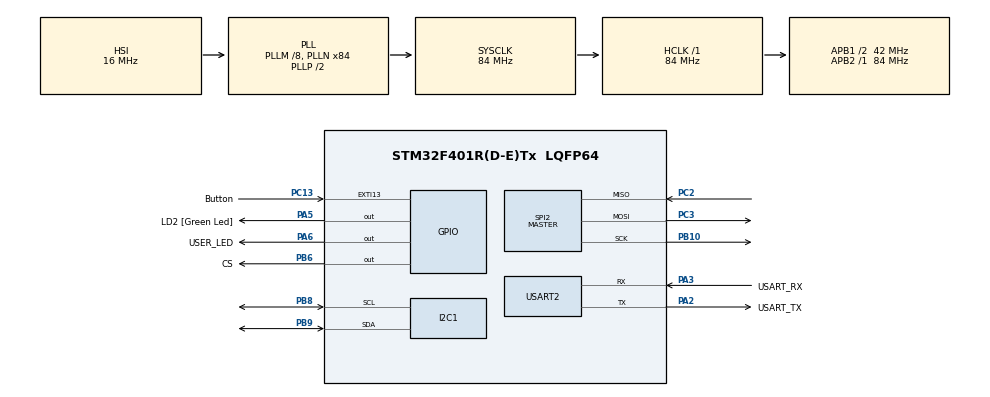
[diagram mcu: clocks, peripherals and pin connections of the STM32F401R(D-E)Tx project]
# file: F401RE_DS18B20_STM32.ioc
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Mcu.Family=STM32F4
Mcu.Name=STM32F401R(D-E)Tx
Mcu.Package=LQFP64
NVIC.EXTI15_10_IRQn=true\:0\:0\:false\:false\:true\:true\:true\:true
NVIC.PriorityGroup=NVIC_PRIORITYGROUP_0
NVIC.TIM2_IRQn=true\:0\:0\:false\:false\:true\:true\:true\:true
PA13.GPIO_Label=TMS
PA13.Mode=Serial_Wire
PA13.Signal=SYS_JTMS-SWDIO
PA14.GPIO_Label=TCK
PA14.Mode=Serial_Wire
PA14.Signal=SYS_JTCK-SWCLK
PA2.GPIO_Label=USART_TX
PA2.GPIO_Mode=GPIO_MODE_AF_PP
PA2.GPIO_PuPd=GPIO_NOPULL
PA2.GPIO_Speed=GPIO_SPEED_FREQ_LOW
PA2.Mode=Asynchronous
PA2.Signal=USART2_TX
PA3.GPIO_Label=USART_RX
PA3.GPIO_Mode=GPIO_MODE_AF_PP
PA3.GPIO_PuPd=GPIO_NOPULL
PA3.GPIO_Speed=GPIO_SPEED_FREQ_LOW
PA3.Mode=Asynchronous
PA3.Signal=USART2_RX
PA5.GPIO_Label=LD2 [Green Led]
PA5.GPIO_Mode=GPIO_MODE_OUTPUT_PP
PA5.GPIO_PuPd=GPIO_NOPULL
PA5.GPIO_Speed=GPIO_SPEED_FREQ_LOW
PA5.Signal=GPIO_Output
PA6.GPIO_Label=USER_LED
PA6.Signal=GPIO_Output
PB10.Mode=Full_Duplex_Master
PB10.Signal=SPI2_SCK
PB3.GPIO_Label=SWO
PB3.Signal=SYS_JTDO-SWO
PB6.GPIO_Label=CS
PB6.Signal=GPIO_Output
PB8.GPIO_Pu=GPIO_PULLUP
PB8.Mode=I2C
PB8.Signal=I2C1_SCL
PB9.GPIO_Pu=GPIO_PULLUP
PB9.Mode=I2C
PB9.Signal=I2C1_SDA
PC13-ANTI_TAMP.GPIO_Label=Button
PC13-ANTI_TAMP.GPIO_ModeDefaultEXTI=GPIO_MODE_IT_FALLING
PC13-ANTI_TAMP.Signal=GPXTI13
PC2.Mode=Full_Duplex_Master
PC2.Signal=SPI2_MISO
PC3.Mode=Full_Duplex_Master
PC3.Signal=SPI2_MOSI
PH0\ -\ OSC_IN.Mode=HSE-External-Clock-Source
PH0\ -\ OSC_IN.Signal=RCC_OSC_IN
PH1\ -\ OSC_OUT.Mode=HSE-External-Clock-Source
PH1\ -\ OSC_OUT.Signal=RCC_OSC_OUT
ProjectManager.HeapSize=0x200
ProjectManager.StackSize=0x400
ProjectManager.TargetToolchain=STM32CubeIDE
RCC.48MHZClocksFreq_Value=24000000
RCC.AHBFreq_Value=84000000
RCC.APB1CLKDivider=RCC_HCLK_DIV2
RCC.APB1Freq_Value=42000000
RCC.APB1TimFreq_Value=84000000
RCC.APB2Freq_Value=84000000
RCC.APB2TimFreq_Value=84000000
RCC.CortexFreq_Value=84000000
RCC.HCLKFreq_Value=84000000
RCC.HSE_VALUE=8000000
RCC.HSI_VALUE=16000000
RCC.LSE_VALUE=32768
RCC.PLLM=8
RCC.PLLN=84
RCC.PLLQ=7
RCC.SYSCLKFreq_VALUE=84000000
RCC.SYSCLKSource=RCC_SYSCLKSOURCE_PLLCLK
RCC.VCOOutputFreq_Value=168000000
SPI2.Direction=SPI_DIRECTION_2LINES
SPI2.Mode=SPI_MODE_MASTER
SPI2.VirtualType=VM_MASTER
TIM1.Prescaler=84-1
TIM2.Period=84000000-1
USART2.VirtualMode=VM_ASYNC
VP_FATFS_VS_Generic.Mode=User_defined
VP_TIM1_VS_ClockSourceINT.Mode=Internal
VP_TIM2_VS_ClockSourceINT.Mode=Internal
board=NUCLEO-F401RE

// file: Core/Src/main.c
/* USER CODE BEGIN Header */
/**
 ******************************************************************************
 * @file           : main.c
 * @brief          : Main program body
 ******************************************************************************
 * @attention
 *
 * Copyright (c) 2025 STMicroelectronics.
 * All rights reserved.
 *
 * This software is licensed under terms that can be found in the LICENSE file
 * in the root directory of this software component.
 * If no LICENSE file comes with this software, it is provided AS-IS.
 *
 ******************************************************************************
 */
/* USER CODE END Header */
#include "main.h"
#include "fatfs.h"
#include "i2c.h"
#include "spi.h"
#include "tim.h"
#include "usart.h"
#include "gpio.h"

/* USER CODE BEGIN Includes */
#include <stdbool.h>
#include "DS18B20.h"
#include "fatfs.h"
#include "File_Handling_RTOS.h"
#include "SSD1306.h"
#include "Text_Font.h"
#include "BMP280.h"
// #include "DS1307.h"  // Ya no se usa DS1307, se usa registro de compilación
/* USER CODE END Includes */

/* USER CODE BEGIN PTD */
#define SD_CARD_OK	1
/* USER CODE END PTD */

/* USER CODE BEGIN PV */
extern SPI_HandleTypeDef hspi2;
extern I2C_HandleTypeDef hi2c1;
extern UART_HandleTypeDef huart2;
extern TIM_HandleTypeDef htim1;
extern TIM_HandleTypeDef htim2;

/* DS1307 RTC - Hardware I2C RTC - YA NO SE USA */
/* USER CODE END PV */

void SystemClock_Config(void);
/* USER CODE BEGIN PFP */

/* USER CODE END FP */

/* USER CODE BEGIN 0 */
#define DATA_MONITOREO 		"NORTE_11.TXT"

/* ========== DS1307 RTC - DESHABILITADO - Se usa registro de compilación ========== */
/*
// Configuracion DS1307 - Descomentar para FORZAR configuracion del RTC en cada inicio
// Usar solo si necesitas actualizar la hora manualmente
// #define FORCE_DS1307_CONFIG

// ---------- DS1307 RTC Functions ----------
// Funcion para forzar escritura directa del DS1307 (bypass Clock Halt)
void DS1307_ForceWrite(uint16_t year, uint8_t month, uint8_t day,
                       uint8_t hour, uint8_t minute, uint8_t second)
{
	myprintf("Forzando escritura directa al DS1307 (bypass Clock Halt)...\r\n");

	// Escribir directamente cada registro con valores en BCD
	uint8_t data[8];
	data[0] = 0x00;  // Dirección de inicio (SECOND)
	data[1] = DS1307_EncodeBCD(second) & 0x7F;  // SECOND con CH=0 (bit 7 = 0)
	data[2] = DS1307_EncodeBCD(minute);         // MINUTE
	data[3] = DS1307_EncodeBCD(hour);           // HOUR (24h mode)
	data[4] = 0x01;                             // DOW (día de semana, 1=Domingo)
	data[5] = DS1307_EncodeBCD(day);            // DATE
	data[6] = DS1307_EncodeBCD(month);          // MONTH
	data[7] = DS1307_EncodeBCD(year - 2000);    // YEAR (00-99)

	// Escribir todos los registros de tiempo en una sola transacción
	HAL_StatusTypeDef status = HAL_I2C_Master_Transmit(&hi2c1, DS1307_I2C_ADDR << 1, data, 8, 1000);

	if(status == HAL_OK)
	{
		myprintf("Escritura I2C OK\r\n");
		HAL_Delay(50);

		// Verificar
		myprintf("Verificando escritura...\r\n");
		uint8_t sec_reg = DS1307_GetRegByte(DS1307_REG_SECOND);
		myprintf("  SECOND reg = 0x%02X (CH bit=%d)\r\n", sec_reg, (sec_reg >> 7) & 1);
	}
	else
	{
		myprintf("ERROR escritura I2C: %d\r\n", status);
	}
}

// Funcion de debug: Lee y muestra registros raw del DS1307
void DS1307_DebugRegisters(void)
{
	myprintf("DS1307 Registros RAW (hex):\r\n");
	myprintf("  SEC  [0x00]: 0x%02X (BCD)\r\n", DS1307_GetRegByte(DS1307_REG_SECOND));
	myprintf("  MIN  [0x01]: 0x%02X (BCD)\r\n", DS1307_GetRegByte(DS1307_REG_MINUTE));
	myprintf("  HOUR [0x02]: 0x%02X (BCD)\r\n", DS1307_GetRegByte(DS1307_REG_HOUR));
	myprintf("  DOW  [0x03]: 0x%02X\r\n", DS1307_GetRegByte(DS1307_REG_DOW));
	myprintf("  DATE [0x04]: 0x%02X (BCD)\r\n", DS1307_GetRegByte(DS1307_REG_DATE));
	myprintf("  MON  [0x05]: 0x%02X (BCD)\r\n", DS1307_GetRegByte(DS1307_REG_MONTH));
	myprintf("  YEAR [0x06]: 0x%02X (BCD, 00-99 = 2000-2099)\r\n", DS1307_GetRegByte(DS1307_REG_YEAR));
	myprintf("  CTRL [0x07]: 0x%02X\r\n", DS1307_GetRegByte(DS1307_REG_CONTROL));

	// Decodificacion BCD de valores importantes
	myprintf("Decodificado: %02d:%02d:%02d  %02d/%02d/20%02d\r\n",
			DS1307_DecodeBCD(DS1307_GetRegByte(DS1307_REG_HOUR) & 0x3F),
			DS1307_DecodeBCD(DS1307_GetRegByte(DS1307_REG_MINUTE)),
			DS1307_DecodeBCD(DS1307_GetRegByte(DS1307_REG_SECOND) & 0x7F),
			DS1307_DecodeBCD(DS1307_GetRegByte(DS1307_REG_DATE)),
			DS1307_DecodeBCD(DS1307_GetRegByte(DS1307_REG_MONTH)),
			DS1307_DecodeBCD(DS1307_GetRegByte(DS1307_REG_YEAR)));
}

// Funcion opcional para configurar la hora del DS1307 con la fecha/hora de compilacion
// Descomenta la llamada a esta funcion si necesitas actualizar el RTC
// __DATE__ = "Mmm DD YYYY"  ej: "Feb 17 2026"
// __TIME__ = "HH:MM:SS"     ej: "14:30:00"
void DS1307_SetCompileTime(void)
{
	static const char mon_names[] = "JanFebMarAprMayJunJulAugSepOctNovDec";
	static const char comp_date[] = __DATE__;
	static const char comp_time[] = __TIME__;

	uint8_t month, day, hour, minute, second;
	uint16_t year;

	// Mes
	char mon_str[4] = {comp_date[0], comp_date[1], comp_date[2], '\0'};
	const char *found = strstr(mon_names, mon_str);
	month = (found != NULL) ? (uint8_t)((found - mon_names) / 3 + 1) : 1;

	// Dia (puede tener espacio inicial para dias de 1 digito)
	day = (comp_date[4] == ' ')
			? (uint8_t)(comp_date[5] - '0')
			: (uint8_t)((comp_date[4] - '0') * 10 + (comp_date[5] - '0'));

	// Año
	year = (uint16_t)(
			(comp_date[7] - '0') * 1000 +
			(comp_date[8] - '0') * 100  +
			(comp_date[9] - '0') * 10   +
			(comp_date[10]- '0'));

	// Hora
	hour   = (uint8_t)((comp_time[0] - '0') * 10 + (comp_time[1] - '0'));
	minute = (uint8_t)((comp_time[3] - '0') * 10 + (comp_time[4] - '0'));
	second = (uint8_t)((comp_time[6] - '0') * 10 + (comp_time[7] - '0'));

	// Configurar el DS1307
	myprintf("Escribiendo: Año=%d, Mes=%d, Dia=%d, Hora=%d:%d:%d\r\n",
			year, month, day, hour, minute, second);

	// Primero asegurar que el reloj esté detenido para escritura segura
	DS1307_SetClockHalt(1);
	HAL_Delay(10);

	// Escribir todos los registros
	DS1307_SetYear(year);
	DS1307_SetMonth(month);
	DS1307_SetDate(day);
	DS1307_SetHour(hour);
	DS1307_SetMinute(minute);
	DS1307_SetSecond(second);

	// Iniciar el reloj
	DS1307_SetClockHalt(0);
	HAL_Delay(50);

	// Verificar lo que realmente se escribio
	myprintf("DS1307 RTC configurado: %04d-%02d-%02d %02d:%02d:%02d\r\n",
			year, month, day, hour, minute, second);
	myprintf("Verificando lectura inmediata...\r\n");
	DS1307_DebugRegisters();

	// Verificar que el reloj esté corriendo
	if(DS1307_GetClockHalt() != 0)
	{
		myprintf("ERROR: El reloj sigue detenido despues de configurar!\r\n");
	}
	else
	{
		myprintf("OK: Reloj corriendo correctamente.\r\n");
	}
}
// ----------------------------------
*/
/* ========== FIN DS1307 DESHABILITADO ========== */

void myprintf(const char *fmt, ...) {
	static char buffer[256];
	va_list args;
	va_start(args, fmt);
	vsnprintf(buffer, sizeof(buffer), fmt, args);
	va_end(args);

	int len = strlen(buffer);
	HAL_UART_Transmit(&huart2, (uint8_t*)buffer, len, -1);

}

float temperature_1 = 0.0;

char data_temp[18];

char horario[40];

volatile uint16_t idx_t = 0;

volatile uint32_t start_timer = 0;
volatile uint32_t counter_time = 0;

state_t estados_abs;

float pressure, temp_bmp, humidity;

/* USER CODE END 0 */

int main(void)
{
	/* USER CODE BEGIN 1 */
#ifdef SD_CARD_OK
	FRESULT res; //Result after operations
#endif
	/* USER CODE END 1 */

	/* MCU Configuration--------------------------------------------------------*/

	/* Reset of all peripherals, Initializes the Flash interface and the Systick. */
	HAL_Init();

	/* Configure the system clock */
	SystemClock_Config();

	/* Initialize all configured peripherals */
	MX_GPIO_Init();
	MX_USART2_UART_Init();
	MX_I2C1_Init();
	MX_SPI2_Init();
	MX_FATFS_Init();
	MX_TIM1_Init();
	MX_TIM2_Init();
	/* USER CODE BEGIN 2 */
	for(uint8_t i = 0; i<6;i++)
	{
		HAL_GPIO_TogglePin(LD2_GPIO_Port, LD2_Pin);
		HAL_GPIO_TogglePin(USER_LED_GPIO_Port,USER_LED_Pin);
		HAL_Delay(500);
	}
	HAL_GPIO_WritePin(LD2_GPIO_Port, LD2_Pin, GPIO_PIN_RESET);
	HAL_GPIO_WritePin(USER_LED_GPIO_Port, USER_LED_Pin, GPIO_PIN_RESET);

	myprintf("\r\nABS MEDICION TEMPERATURA \r\n");

	/* SD Card - crear/verificar archivo de log */
#ifdef SD_CARD_OK
	res = Mount_SD("/");
	if(res != FR_OK)
	{
		myprintf("SD mount error (%i) - sin SD card\r\n", res);
		HAL_GPIO_WritePin(LD2_GPIO_Port, LD2_Pin, GPIO_PIN_SET);
	}
	else
	{
		// Si el archivo no existe lo crea con encabezado CSV
		if(Update_File(DATA_MONITOREO, "") != FR_OK)
		{
			Create_File(DATA_MONITOREO);
			Update_File(DATA_MONITOREO, "Timestamp,Temp_C,Pressure_Pa\r\n");
		}
		Unmount_SD("/");
		myprintf("SD card OK\r\n");
	}

#endif

	/* ========== DS1307 RTC - DESHABILITADO ========== */
	/*
	// Inicializar DS1307 RTC
	myprintf("\r\n--- Inicializando DS1307 RTC ---\r\n");

	// Escaneo de bus I2C para diagnóstico
	myprintf("Escaneando bus I2C1...\r\n");
	uint8_t devices_found = 0;
	for(uint8_t addr = 1; addr < 128; addr++)
	{
		if(HAL_I2C_IsDeviceReady(&hi2c1, addr << 1, 1, 10) == HAL_OK)
		{
			myprintf("  Dispositivo encontrado en 0x%02X\r\n", addr);
			devices_found++;
		}
	}
	myprintf("Dispositivos I2C encontrados: %d\r\n\r\n", devices_found);

	// Test de comunicacion I2C con DS1307
	if(HAL_I2C_IsDeviceReady(&hi2c1, DS1307_I2C_ADDR << 1, 3, 1000) == HAL_OK)
	{
		myprintf("DS1307 detectado en I2C (0x%02X)\r\n", DS1307_I2C_ADDR);

		// Verificar Clock Halt ANTES de Init
		uint8_t halt_before = DS1307_GetClockHalt();
		myprintf("Clock Halt Bit (antes de Init): %d %s\r\n", halt_before, halt_before ? "(DETENIDO)" : "(CORRIENDO)");

		// Inicializar y forzar inicio del reloj
		DS1307_Init(&hi2c1);
		HAL_Delay(10);

		// Verificar Clock Halt DESPUES de Init
		uint8_t halt_after = DS1307_GetClockHalt();
		myprintf("Clock Halt Bit (despues de Init): %d %s\r\n", halt_after, halt_after ? "(DETENIDO)" : "(CORRIENDO)");

		// Si sigue detenido, forzar limpieza del bit
		if(halt_after != 0)
		{
			myprintf("ADVERTENCIA: Reloj sigue detenido. Forzando inicio...\r\n");
			DS1307_SetClockHalt(0);
			HAL_Delay(10);
			uint8_t halt_final = DS1307_GetClockHalt();
			myprintf("Clock Halt Bit (despues de forzar): %d %s\r\n", halt_final, halt_final ? "(AUN DETENIDO - PROBLEMA HW)" : "(CORRIENDO OK)");

			if(halt_final != 0)
			{
				myprintf("\r\n*** PROBLEMA DE HARDWARE DETECTADO ***\r\n");
				myprintf("El DS1307 no responde a comandos de escritura.\r\n");
				myprintf("Posibles causas:\r\n");
				myprintf("  1. Falta bateria CR2032 en el DS1307\r\n");
				myprintf("  2. Resistencias pull-up faltantes en SDA/SCL (necesita 4.7k ohm)\r\n");
				myprintf("  3. Conexiones incorrectas o cables sueltos\r\n");
				myprintf("  4. DS1307 defectuoso\r\n");
				myprintf("  5. Conflicto con BMP280 en el mismo bus I2C\r\n");
				myprintf("\r\nVerifica las conexiones:\r\n");
				myprintf("  DS1307 VCC  -> 5V o 3.3V\r\n");
				myprintf("  DS1307 GND  -> GND\r\n");
				myprintf("  DS1307 SDA  -> PB9 (con pull-up 4.7k a VCC)\r\n");
				myprintf("  DS1307 SCL  -> PB8 (con pull-up 4.7k a VCC)\r\n");
				myprintf("  DS1307 BAT  -> Bateria CR2032 (+)\r\n");
				myprintf("  DS1307 GND  -> Bateria CR2032 (-)\r\n");
				myprintf("***********************************\r\n\r\n");
			}
		}

		// Leer fecha/hora actual
		uint16_t year = DS1307_GetYear();
		uint8_t month = DS1307_GetMonth();
		uint8_t day = DS1307_GetDate();
		uint8_t hour = DS1307_GetHour();
		uint8_t minute = DS1307_GetMinute();
		uint8_t second = DS1307_GetSecond();

		myprintf("Fecha/Hora leida: %04d-%02d-%02d %02d:%02d:%02d\r\n",
				year, month, day, hour, minute, second);

		// Mostrar registros raw para debug
		DS1307_DebugRegisters();

#ifdef FORCE_DS1307_CONFIG
		// Configuracion forzada habilitada
		myprintf("FORCE_DS1307_CONFIG activo. Configurando RTC...\r\n");
		DS1307_SetCompileTime();
		HAL_Delay(100);
		myprintf("RTC configurado. Nueva fecha/hora: %04d-%02d-%02d %02d:%02d:%02d\r\n",
				DS1307_GetYear(), DS1307_GetMonth(), DS1307_GetDate(),
				DS1307_GetHour(), DS1307_GetMinute(), DS1307_GetSecond());
#else
		// Detectar si el RTC necesita configuracion inicial
		// Si el año es inválido (2000-2024 no tiene sentido, o fuera de rango), configurar
		// Detectar año corrupto: 2080 indica problema de lectura
		bool year_corrupted = (year == 2080 || year == 2000);

		if(year < 2025 || year > 2099 || month == 0 || month > 12 || day == 0 || day > 31 || year_corrupted)
		{
			myprintf("ADVERTENCIA: RTC con valores invalidos (año=%d). Configurando...\r\n", year);

			// Limpiar registro de control (puede tener basura)
			DS1307_SetRegByte(DS1307_REG_CONTROL, 0x00);
			HAL_Delay(10);

			// Intento 1: Configurar con funciones normales
			myprintf("Intento 1: Configuracion normal...\r\n");
			DS1307_SetCompileTime();
			HAL_Delay(100);

			// Leer de nuevo para verificar
			uint16_t new_year = DS1307_GetYear();
			uint8_t new_month = DS1307_GetMonth();
			uint8_t new_day = DS1307_GetDate();
			uint8_t new_hour = DS1307_GetHour();
			uint8_t new_min = DS1307_GetMinute();
			uint8_t new_sec = DS1307_GetSecond();

			myprintf("RTC configurado. Nueva fecha/hora: %04d-%02d-%02d %02d:%02d:%02d\r\n",
					new_year, new_month, new_day, new_hour, new_min, new_sec);

			// Si sigue fallando, intentar escritura forzada
			if(new_year < 2025 || new_year > 2099 || DS1307_GetClockHalt() != 0)
			{
				myprintf("FALLO: Configuracion normal no funciono. Intentando escritura forzada...\r\n");

				// Obtener fecha/hora de compilación nuevamente
				static const char mon_names[] = "JanFebMarAprMayJunJulAugSepOctNovDec";
				static const char comp_date[] = __DATE__;
				static const char comp_time[] = __TIME__;

				char mon_str[4] = {comp_date[0], comp_date[1], comp_date[2], '\0'};
				const char *found = strstr(mon_names, mon_str);
				uint8_t m = (found != NULL) ? (uint8_t)((found - mon_names) / 3 + 1) : 3;
				uint8_t d = (comp_date[4] == ' ') ? (uint8_t)(comp_date[5] - '0')
						: (uint8_t)((comp_date[4] - '0') * 10 + (comp_date[5] - '0'));
				uint16_t y = (uint16_t)((comp_date[7] - '0') * 1000 + (comp_date[8] - '0') * 100
						+ (comp_date[9] - '0') * 10 + (comp_date[10]- '0'));
				uint8_t h = (uint8_t)((comp_time[0] - '0') * 10 + (comp_time[1] - '0'));
				uint8_t min = (uint8_t)((comp_time[3] - '0') * 10 + (comp_time[4] - '0'));
				uint8_t s = (uint8_t)((comp_time[6] - '0') * 10 + (comp_time[7] - '0'));

				DS1307_ForceWrite(y, m, d, h, min, s);

				HAL_Delay(100);
				myprintf("Verificacion final: %04d-%02d-%02d %02d:%02d:%02d\r\n",
						DS1307_GetYear(), DS1307_GetMonth(), DS1307_GetDate(),
						DS1307_GetHour(), DS1307_GetMinute(), DS1307_GetSecond());
			}
		}
		else
		{
			myprintf("DS1307 RTC OK!\r\n");
		}
#endif
	}
	else
	{
		myprintf("ERROR: DS1307 NO detectado en I2C!\r\n");
		myprintf("Verificar conexiones: SDA, SCL, VCC, GND\r\n");
		myprintf("Direccion I2C esperada: 0x%02X (0x%02X shifted)\r\n",
				DS1307_I2C_ADDR, DS1307_I2C_ADDR << 1);
	}
	myprintf("--- Fin inicializacion DS1307 ---\r\n\r\n");
	*/

	/* Usar registro de compilacion en lugar de DS1307 */
	myprintf("\r\n--- Usando registro de compilacion ---\r\n");
	myprintf("Fecha de compilacion: %s\r\n", __DATE__);
	myprintf("Hora de compilacion: %s\r\n", __TIME__);
	myprintf("--- Fin registro de compilacion ---\r\n\r\n");

	estados_abs = OFF;

	/* SSD1306 */
	/*ssd1306_t SSD1306;
	SSD1306.address = SSD1306_ADDR<<1;
	SSD1306.width= SSD1306_WIDTH ;
	SSD1306.height = SSD1306_HEIGHT;
	SSD1306.color = SSD1306_WHITE;
	SSD1306.contrast = 0xCF;
	SSD1306.left = SSD1306_LEFT;
	SSD1306.right = SSD1306_RIGHT;
	SSD1306.center = SSD1306_CENTER;
	SSD1306.Font.inverted = false;
	SSD1306_I2C_Init (&SSD1306);
	HAL_Delay(100);
	SSD1306_I2C_ClearDisplay(&SSD1306);
	SSD1306_I2C_Update(&SSD1306);
	SSD1306_I2C_SetFont( &SSD1306, BIG_FONTS);
	SSD1306_I2C_Cadena( &SSD1306,0,0,"WELS XD");
	SSD1306_I2C_SetFont(&SSD1306, TINY_FONTS);
	SSD1306_I2C_Cadena( &SSD1306, 0,32,"TEMPERATUR");
	SSD1306_I2C_Update( &SSD1306);
	HAL_Delay(100);
	SSD1306_I2C_ClearDisplay(&SSD1306);*/
	/* BMP280 */
	bmp280_t bmp;
	bmp.comm_mode = BMP280_MODE_I2C;
	bmp.hi2c = &hi2c1;
	bmp.address = 0x76;
	if(bmp280_init(&bmp) == HAL_OK)
	{
		myprintf("SENSOR BMP280 OK! ");
	}
	HAL_Delay(500);
	int32_t raw_temp, raw_pressure;
	float temp, pressure;
	HAL_TIM_Base_Start_IT(&htim2);
	estados_abs = WAIT;
	myprintf("\r\nINCIO MEDICION \r\n\r\n");
	/* USER CODE END 2 */

	/* Infinite loop */
	while (1)
	{

		/* USER CODE BEGIN 3 */

		switch(estados_abs)
		{
		case WORK:
			if(HAL_OK == bmp280_read_raw(&bmp,&raw_temp,&raw_pressure))
			{
				temp = bmp280_compensate_temperature(&bmp,raw_temp);
				pressure = bmp280_compensate_pressure(&bmp, raw_pressure);
				myprintf("Pressure: %.2f Pa, Temperature: %.2f C\r\n",pressure,temp);
				sprintf(data_temp,"%.2f, %.2f",temp,pressure);
				estados_abs = HOUR;
			}
			else
			{
				myprintf("Temperature/pressure reading failed\r\n");
				HAL_Delay(2000);
				estados_abs = OFF;
			}
			break;
		case HOUR:
			/* Usar fecha y hora de compilacion (ya no se usa DS1307) */
			sprintf(horario, "%s, %s", __DATE__, __TIME__);
#ifdef SD_CARD_OK
			estados_abs = SAVE;
#else
			estados_abs = PRINT;
#endif
			break;
		case PRINT:
			char data_printf[80];
			sprintf(data_printf, "%s,%.2f,%.2f\r\n", horario, temp, pressure);
			myprintf("[%u] %s", idx_t + 1, data_printf);
			estados_abs = WAIT;
			break;
		case SAVE:
		{
			char data_save[80];
			sprintf(data_save, "%s,%.2f,%.2f\r\n", horario, temp, pressure);
			myprintf("[%u] %s", idx_t + 1, data_save);
#ifdef SD_CARD_OK
			res = Mount_SD("/");
			if(res == FR_OK)
			{
				res = Update_File(DATA_MONITOREO, data_save);
				if(res == FR_OK)
				{
					idx_t++;
				}
				else
				{
					myprintf("SD write error (%i)\r\n", res);
				}
				Unmount_SD("/");
			}
			else
			{
				myprintf("SD mount error (%i)\r\n", res);
			}
#endif
			estados_abs = WAIT;
			break;
		}
		case WAIT:
			HAL_GPIO_TogglePin(LD2_GPIO_Port, LD2_Pin);
			HAL_GPIO_TogglePin(USER_LED_GPIO_Port, USER_LED_Pin);
			HAL_Delay(1000);
			break;
		default:
			break;
		}
	}
	/* USER CODE END 3 */
}

void SystemClock_Config(void)
{
	RCC_OscInitTypeDef RCC_OscInitStruct = {0};
	RCC_ClkInitTypeDef RCC_ClkInitStruct = {0};

	/** Configure the main internal regulator output voltage
	 */
	__HAL_RCC_PWR_CLK_ENABLE();
	__HAL_PWR_VOLTAGESCALING_CONFIG(PWR_REGULATOR_VOLTAGE_SCALE2);

	/** Initializes the RCC Oscillators according to the specified parameters
	 * in the RCC_OscInitTypeDef structure.
	 */
	RCC_OscInitStruct.OscillatorType = RCC_OSCILLATORTYPE_HSI;
	RCC_OscInitStruct.HSIState = RCC_HSI_ON;
	RCC_OscInitStruct.HSICalibrationValue = RCC_HSICALIBRATION_DEFAULT;
	RCC_OscInitStruct.PLL.PLLState = RCC_PLL_ON;
	RCC_OscInitStruct.PLL.PLLSource = RCC_PLLSOURCE_HSI;
	RCC_OscInitStruct.PLL.PLLM = 8;
	RCC_OscInitStruct.PLL.PLLN = 84;
	RCC_OscInitStruct.PLL.PLLP = RCC_PLLP_DIV2;
	RCC_OscInitStruct.PLL.PLLQ = 7;
	if (HAL_RCC_OscConfig(&RCC_OscInitStruct) != HAL_OK)
	{
		Error_Handler();
	}

	/** Initializes the CPU, AHB and APB buses clocks
	 */
	RCC_ClkInitStruct.ClockType = RCC_CLOCKTYPE_HCLK|RCC_CLOCKTYPE_SYSCLK
			|RCC_CLOCKTYPE_PCLK1|RCC_CLOCKTYPE_PCLK2;
	RCC_ClkInitStruct.SYSCLKSource = RCC_SYSCLKSOURCE_PLLCLK;
	RCC_ClkInitStruct.AHBCLKDivider = RCC_SYSCLK_DIV1;
	RCC_ClkInitStruct.APB1CLKDivider = RCC_HCLK_DIV2;
	RCC_ClkInitStruct.APB2CLKDivider = RCC_HCLK_DIV1;

	if (HAL_RCC_ClockConfig(&RCC_ClkInitStruct, FLASH_LATENCY_2) != HAL_OK)
	{
		Error_Handler();
	}
}

/* USER CODE BEGIN 4 */
void HAL_GPIO_EXTI_Callback(uint16_t GPIO_Pin)
{
	if(GPIO_Pin == Button_Pin)
	{
		if(start_timer == 0)
		{
			HAL_TIM_Base_Start_IT(&htim2);
			estados_abs = WAIT;
			myprintf("\r\n START TIMER \r\n\r\n");
			start_timer = 1;
		}
		else
		{
			HAL_TIM_Base_Stop_IT(&htim2);
			HAL_GPIO_TogglePin(LD2_GPIO_Port, LD2_Pin);
			HAL_GPIO_WritePin(LD2_GPIO_Port, LD2_Pin, GPIO_PIN_RESET);
			start_timer = 0;
			estados_abs = OFF;
			myprintf("\r\n OFF TIMER \r\n\r\n");
		}
	}
}

void HAL_TIM_PeriodElapsedCallback(TIM_HandleTypeDef *htim)
{
	/* Timer tick cada 1 segundo - Se usa registro de compilacion */
	counter_time++;
	if(counter_time == TOTAL_COUNT)
	{
		counter_time = 0;
		estados_abs = WORK;
	}
}
/* USER CODE END 4 */

void Error_Handler(void)
{
	__disable_irq();
	while (1)
	{
	}
}
